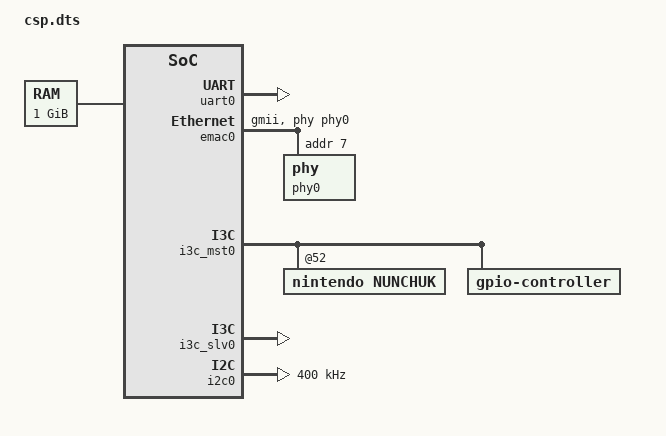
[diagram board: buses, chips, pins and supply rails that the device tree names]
// SPDX-License-Identifier: GPL-2.0
/dts-v1/;

#include <dt-bindings/i3c/i3c.h>

/ {
	compatible = "cdns,xtensa-xtfpga";
	#address-cells = <1>;
	#size-cells = <1>;
	interrupt-parent = <&pic>;

	aliases {
		serial0 = &uart0;
	};

	chosen {
		bootargs = "earlycon=cdns,0xfd000000,115200 console=ttyPS0,115200 root=/dev/nfs nfsroot=192.168.0.16:/home/bbrezillon/projects/cadence/rootfs ip=dhcp rw earlyprintk xilinx_uartps.rx_trigger_level=32 loglevel=8 nohz=off ignore_loglevel";
		stdout-path = "serial0:115200n8";
	};

	memory@0 {
		device_type = "memory";
		reg = <0x00000000 0x40000000>;
	};

	cpus {
		#address-cells = <1>;
		#size-cells = <0>;
		cpu@0 {
			compatible = "cdns,xtensa-cpu";
			reg = <0>;
			clocks = <&osc>;
		};
	};

	pic: pic {
		compatible = "cdns,xtensa-pic";
		#interrupt-cells = <2>;
		interrupt-controller;
	};

	clocks {
		coreclock: coreclock {
			#clock-cells = <0>;
			compatible = "fixed-clock";
			clock-frequency = <80000000>;
		};

		i3csysclock: i3csysclock {
			#clock-cells = <0>;
			compatible = "fixed-clock";
			clock-frequency = <50000000>;
		};
	};

	soc {
		#address-cells = <1>;
		#size-cells = <1>;
		compatible = "simple-bus";
		ranges = <0x00000000 0xf0000000 0x10000000>;

		osc: main-oscillator {
			#clock-cells = <0>;
			compatible = "cdns,xtfpga-clock";
			reg = <0x0d020004 0x4>;
		};

		uart0: serial@0d000000 {
			compatible = "xlnx,xuartps", "cdns,uart-r1p8";
			clocks = <&osc>, <&osc>;
			clock-names = "uart_clk", "pclk";
			reg = <0x0d000000 0x1000>;
			interrupts = <0 0>;
		};

		sysregs: sysregs@0d020000 {
			compatible = "cdns,csp-sysregs";
			gpio-controller;
			#gpio-cells = <2>;
			reg = <0x0d020000 0x1000>;
		};

		emac0: emac@0d030000 {
			compatible = "cdns,zynqmp-gem";
			reg = <0x0d030000 0x1000>;
			interrupts = <1 0>;
			mac-address = [ 00 47 45 4D 30 31 ];
			clocks = <&coreclock>, <&coreclock>;
			clock-names = "pclk", "hclk";
			#address-cells = <1>;
			#size-cells = <0>;
			#stream-id-cells = <1>;
			phy-handle = <&phy0>;
			phy-mode = "gmii";

			phy0: phy@7 {
				reg = <7>;
				max-speed = <1000>;
			};
		};

		i3c_mst0: i3c-master@0d040000 {
			compatible = "cdns,i3c-master";
			clocks = <&coreclock>, <&i3csysclock>;
			clock-names = "pclk", "sysclk";
			interrupts = <3 0>;
			reg = <0x0d040000 0x1000>;
			#address-cells = <3>;
			#size-cells = <0>;

			status = "okay";
			i2c-scl-frequency = <100000>;

			nunchuk: nunchuk@52 {
				compatible = "nintendo,nunchuk";
				reg = <I2C_DEV(0x52, 0x10)>;
			};

			gpio-controller@68,1c9,0 {
/*
				reg = <I3C_DEV_WITH_STATIC_ADDR(0x68, 0x1c9,
								0x0, 0x0, 0x0)>;
*/
				reg = <I3C_DEV(0x1c9, 0x13, 0x3, 0x3)>;
				assigned-address = <0x24>;
			};
		};

		i3c_slv0: i3c-slave@0d060000 {
			compatible = "cdns,i3c-slave";
			clocks = <&coreclock>, <&i3csysclock>;
			clock-names = "pclk", "sysclk";
			interrupts = <8 0>;
			reg = <0x0d060000 0x1000>;
		};

		i3c_mst1: i3c-master@0d070000 {
			compatible = "cdns,i3c-master";
			clocks = <&coreclock>, <&i3csysclock>;
			clock-names = "pclk", "sysclk";
			interrupts = <4 0>;
			reg = <0x0d070000 0x1000>;
			#address-cells = <1>;
			#size-cells = <0>;
			status = "disabled";

			i2c-bus {
				#address-cells = <1>;
				#size-cells = <0>;
				clock-frequency = <400000>;
			};
		};

		i3c_mst2: i3c-master@0d080000 {
			compatible = "cdns,i3c-master";
			clocks = <&coreclock>, <&i3csysclock>;
			clock-names = "pclk", "sysclk";
			interrupts = <5 0>;
			reg = <0x0d080000 0x1000>;
			#address-cells = <1>;
			#size-cells = <0>;
			status = "disabled";

			i2c-bus {
				#address-cells = <1>;
				#size-cells = <0>;
				clock-frequency = <400000>;
			};
		};

		i2c0: i2c@0d090000 {
			compatible = "cdns,i2c-r1p14";
			clocks = <&coreclock>, <&i3csysclock>;
			clock-names = "pclk", "sysclk";
			interrupts = <2 0>;
			reg = <0x0d090000 0x1000>;
			clock-frequency = <400000>;
			#address-cells = <1>;
			#size-cells = <0>;
		};
	};
};
